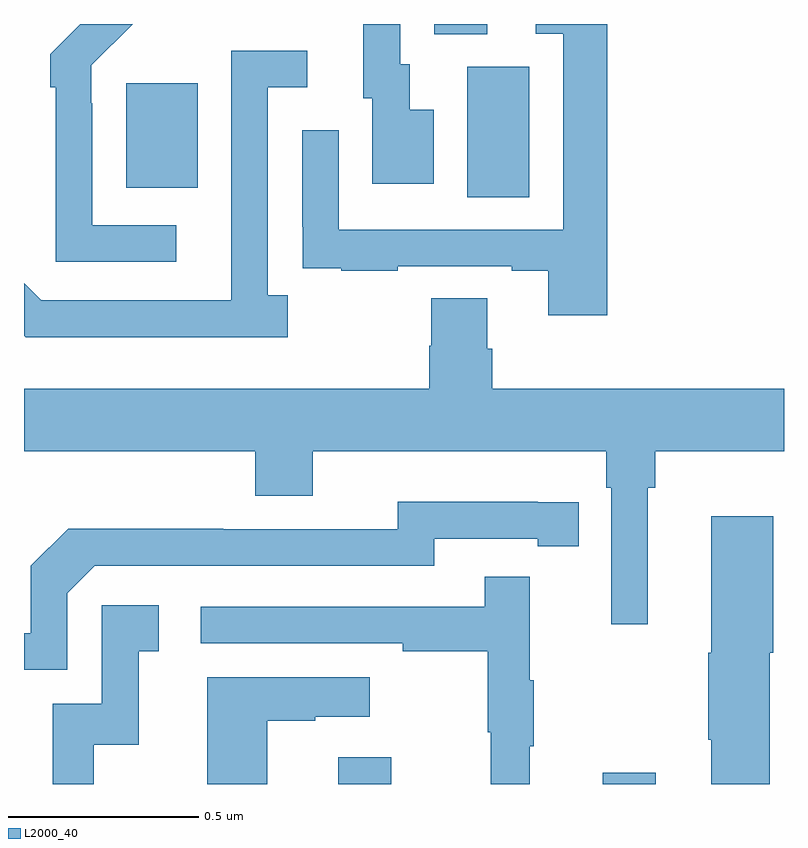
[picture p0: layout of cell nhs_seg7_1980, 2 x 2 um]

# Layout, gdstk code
import gdstk
lib = gdstk.Library(unit=1e-6, precision=1e-09)
def R(c, l, rs):  # rectangles x0, y0, x1, y1
    for r in rs: c.add(gdstk.rectangle(r[:2], r[2:], *l))
def P(c, l, *ps):  # polygons
    for p in ps: c.add(gdstk.Polygon(p, *l))
L2000_40 = (2000, 40)

nhs_seg7_1980 = lib.new_cell('nhs_seg7_1980')
R(nhs_seg7_1980, L2000_40, [(138.827,1073,138.967,1073.071), (139.523,1073,139.663,1073.029), (139.166,1074.544,139.33,1074.888), (138.269,1074.569,138.457,1074.844), (139.079,1074.973,139.219,1075)])
P(nhs_seg7_1980, L2000_40, [(139.535,1075),(139.347,1075),(139.347,1074.975),(139.419,1074.975),(139.419,1074.459),(138.828,1074.459),(138.828,1074.721),(138.732,1074.721),(138.732,1074.466),(138.733,1074.466),(138.733,1074.357),(138.835,1074.357),(138.835,1074.351),(138.983,1074.351),(138.983,1074.363),(139.283,1074.363),(139.283,1074.351),(139.379,1074.351),(139.379,1074.234),(139.535,1074.234)],
  [(138.4,1074.471),(138.18,1074.471),(138.18,1074.791),(138.177,1074.791),(138.177,1074.891),(138.286,1075),(138.148,1075),(138.069,1074.921),(138.069,1074.833),(138.084,1074.833),(138.084,1074.375),(138.4,1074.375)],
  [(139.078,1074.775),(139.015,1074.775),(139.015,1074.894),(138.99,1074.894),(138.99,1075),(138.893,1075),(138.893,1074.804),(138.917,1074.804),(138.917,1074.579),(139.078,1074.579)],
  [(138.694,1074.286),(138.642,1074.286),(138.642,1074.834),(138.745,1074.834),(138.745,1074.93),(138.546,1074.93),(138.546,1074.473),(138.545,1074.473),(138.545,1074.273),(138.045,1074.273),(138,1074.318),(138,1074.18),(138.004,1074.176),(138.694,1074.176)],
  [(139.642,1073.78),(139.661,1073.78),(139.661,1073.876),(140,1073.876),(140,1074.04),(139.232,1074.04),(139.232,1074.146),(139.219,1074.146),(139.219,1074.278),(139.072,1074.278),(139.072,1074.153),(139.067,1074.153),(139.067,1074.04),(138,1074.04),(138,1073.876),(138.608,1073.876),(138.608,1073.759),(138.76,1073.759),(138.76,1073.876),(139.532,1073.876),(139.532,1073.78),(139.545,1073.78),(139.545,1073.421),(139.642,1073.421)],
  [(138.114,1073.502),(138.186,1073.574),(139.08,1073.574),(139.08,1073.646),(139.352,1073.646),(139.352,1073.626),(139.46,1073.626),(139.46,1073.742),(139.352,1073.742),(139.352,1073.743),(138.984,1073.743),(138.984,1073.67),(138.524,1073.67),(138.524,1073.672),(138.116,1073.672),(138.018,1073.574),(138.018,1073.397),(138,1073.397),(138,1073.301),(138.114,1073.301)],
  [(139.962,1073.346),(139.972,1073.346),(139.972,1073.704),(139.808,1073.704),(139.808,1073.346),(139.801,1073.346),(139.801,1073.116),(139.808,1073.116),(139.808,1073),(139.962,1073)],
  [(139.331,1073.099),(139.342,1073.099),(139.342,1073.273),(139.331,1073.273),(139.331,1073.545),(139.213,1073.545),(139.213,1073.466),(138.465,1073.466),(138.465,1073.37),(138.997,1073.37),(138.997,1073.35),(139.221,1073.35),(139.221,1073.136),(139.228,1073.136),(139.228,1073),(139.331,1073)],
  [(138.184,1073.103),(138.302,1073.103),(138.302,1073.349),(138.355,1073.349),(138.355,1073.47),(138.204,1073.47),(138.204,1073.211),(138.075,1073.211),(138.075,1073),(138.184,1073)],
  [(138.64,1073.167),(138.767,1073.167),(138.767,1073.177),(138.91,1073.177),(138.91,1073.281),(138.482,1073.281),(138.482,1073),(138.64,1073)])

lib.write_gds('nhs_seg7_1980.gds')
